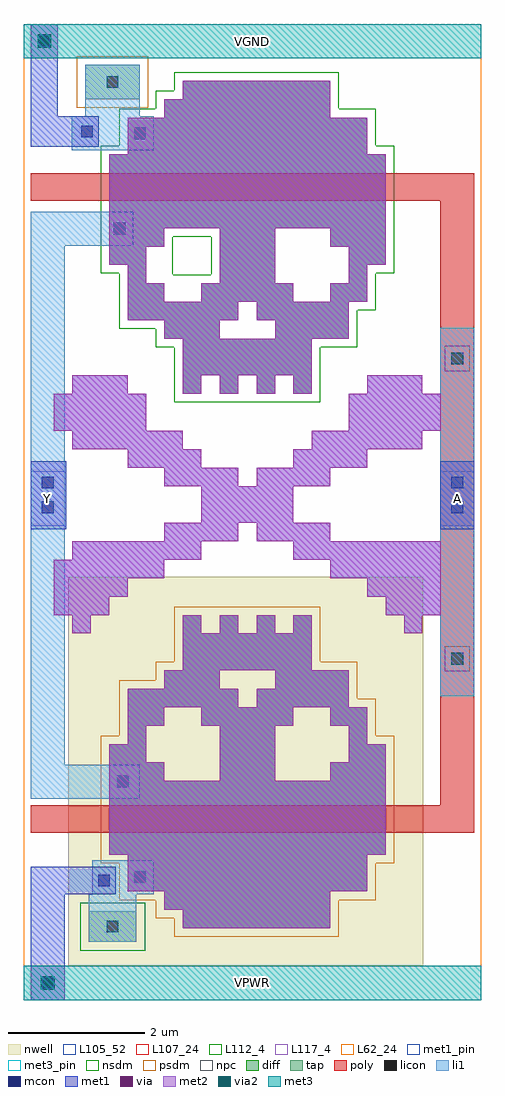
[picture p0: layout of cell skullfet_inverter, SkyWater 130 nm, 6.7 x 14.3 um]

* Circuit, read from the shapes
.subckt skullfet_inverter A VGND VPWR Y
XM1 VGND A Y VGND sky130_fd_pr__nfet_01v8 w=4.05 l=0.4
XM2 Y A VPWR VPWR sky130_fd_pr__pfet_01v8 w=4.05 l=0.4
.ends

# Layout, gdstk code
import gdstk
lib = gdstk.Library(unit=1e-6, precision=1e-09)
def R(c, l, rs):  # rectangles x0, y0, x1, y1
    for r in rs: c.add(gdstk.rectangle(r[:2], r[2:], *l))
def A(c, l, x, y, w, h, nx, ny, dx, dy):  # array of equal rectangles
    R(c, l, [(x+i*dx, y+j*dy, x+i*dx+w, y+j*dy+h) for i in range(nx) for j in range(ny)])
L62_24 = (62, 24)
nwell = (64, 20)
diff = (65, 20)
tap = (65, 44)
poly = (66, 20)
licon = (66, 44)
li1 = (67, 20)
mcon = (67, 44)
met1_pin = (68, 16)
met1 = (68, 20)
via = (68, 44)
met2 = (69, 20)
via2 = (69, 44)
met3_pin = (70, 16)
met3 = (70, 20)
nsdm = (93, 44)
psdm = (94, 20)
npc = (95, 20)
L105_52 = (105, 52)
L107_24 = (107, 24)
L112_4 = (112, 4)
L117_4 = (117, 4)

skullfet_inverter = lib.new_cell('skullfet_inverter')
R(skullfet_inverter, L62_24, [(0,0,6.7,14.3)])
R(skullfet_inverter, nwell, [(0.65,0.5,5.85,6.2)])
A(skullfet_inverter, diff, 2.33, 5.37, 0.27, 0.27, 4, 2, 0.54, 3.51)
R(skullfet_inverter, diff, [(2.33,1.05,4.49,1.32), (2.06,1.32,4.49,1.59), (1.52,1.59,5.03,2.13), (1.25,2.13,5.3,3.21), (1.25,3.21,2.06,3.48), (2.87,3.21,3.68,4.02), (4.49,3.21,5.3,3.48), (1.25,3.48,1.79,3.75), (4.76,3.48,5.3,3.75), (1.52,3.75,1.79,4.02), (4.76,3.75,5.03,4.02), (1.52,4.02,2.06,4.29), (2.6,4.02,3.95,4.29), (4.49,4.02,5.03,4.29), (1.52,4.29,3.14,4.56), (3.41,4.29,4.76,4.56), (2.06,4.56,2.87,4.83), (3.68,4.56,4.76,4.83), (2.33,4.83,4.22,5.37), (2.33,9.15,4.22,9.69), (2.06,9.69,2.87,9.96), (3.68,9.69,4.76,9.96), (1.52,9.96,3.14,10.23), (3.41,9.96,4.76,10.23), (1.52,10.23,2.06,10.5), (2.6,10.23,3.95,10.5), (4.49,10.23,5.03,10.5), (1.52,10.5,1.79,10.77), (2.87,10.5,3.68,11.31), (4.76,10.5,5.03,10.77), (1.25,10.77,1.79,11.04), (4.76,10.77,5.3,11.04), (1.25,11.04,2.06,11.31), (4.49,11.04,5.3,11.31), (1.25,11.31,5.3,12.39), (1.52,12.39,5.03,12.93), (2.06,12.93,4.49,13.2), (2.33,13.2,4.49,13.47)])
R(skullfet_inverter, tap, [(0.95,0.85,1.65,1.3), (0.9,13.2,1.7,13.7)])
R(skullfet_inverter, poly, [(0.1,2.45,6.6,2.85), (6.1,2.85,6.6,11.71), (0.1,11.71,6.6,12.11)])
R(skullfet_inverter, licon, [(1.215,0.99,1.385,1.16), (1.615,1.715,1.785,1.885), (1.365,3.115,1.535,3.285), (6.265,4.915,6.435,5.085), (6.265,9.315,6.435,9.485), (1.315,11.215,1.485,11.385), (1.615,12.615,1.785,12.785), (1.215,13.365,1.385,13.535)])
R(skullfet_inverter, li1, [(0.95,0.85,1.65,1.55), (1,1.55,1.9,2.05), (0.1,2.95,1.7,3.45), (0.1,3.45,0.6,11.05), (6.1,4.45,6.6,9.85), (0.1,11.05,1.6,11.55), (0.7,12.45,1.9,12.95), (0.9,12.95,1.7,13.7)])
R(skullfet_inverter, mcon, [(1.09,1.665,1.26,1.835), (0.265,7.135,0.435,7.305), (6.265,7.135,6.435,7.305), (0.265,7.495,0.435,7.665), (6.265,7.495,6.435,7.665), (0.84,12.64,1.01,12.81)])
R(skullfet_inverter, met1_pin, [(0.1,6.95,0.6,7.75), (6.1,6.95,6.6,7.75)])
A(skullfet_inverter, met1, 2.33, 5.37, 0.27, 0.27, 4, 2, 0.54, 3.51)
R(skullfet_inverter, met1, [(0.1,0,0.6,1.55), (2.33,1.05,4.49,1.32), (2.06,1.32,4.49,1.59), (0.1,1.55,1.35,1.95), (1.52,1.59,5.03,2.13), (1.25,2.13,5.3,3.21), (1.25,3.21,2.06,3.48), (2.87,3.21,3.68,4.02), (4.49,3.21,5.3,3.48), (1.25,3.48,1.79,3.75), (4.76,3.48,5.3,3.75), (1.52,3.75,1.79,4.02), (4.76,3.75,5.03,4.02), (1.52,4.02,2.06,4.29), (2.6,4.02,3.95,4.29), (4.49,4.02,5.03,4.29), (1.52,4.29,3.14,4.56), (3.41,4.29,4.76,4.56), (2.06,4.56,2.87,4.83), (3.68,4.56,4.76,4.83), (2.33,4.83,4.22,5.37), (0.71,5.37,0.98,5.64), (5.57,5.37,5.84,5.64), (0.44,5.64,1.25,5.91), (5.3,5.64,6.11,5.91), (0.44,5.91,1.52,6.18), (5.03,5.91,6.11,6.18), (0.44,6.18,2.06,6.45), (4.49,6.18,6.11,6.45), (0.71,6.45,2.6,6.72), (3.95,6.45,6.11,6.72), (2.06,6.72,3.14,6.99), (3.41,6.72,4.49,6.99), (0.1,6.9,0.62,7.89), (6.1,6.9,6.6,7.89), (2.6,6.99,3.95,7.53), (2.06,7.53,3.14,7.8), (3.41,7.53,4.49,7.8), (1.52,7.8,2.6,8.07), (3.95,7.8,5.03,8.07), (0.71,8.07,2.33,8.34), (4.22,8.07,5.84,8.34), (0.44,8.34,1.79,8.88), (4.76,8.34,6.11,8.88), (0.71,8.88,1.52,9.15), (5.03,8.88,5.84,9.15), (2.33,9.15,4.22,9.69), (2.06,9.69,2.87,9.96), (3.68,9.69,4.76,9.96), (1.52,9.96,3.14,10.23), (3.41,9.96,4.76,10.23), (1.52,10.23,2.06,10.5), (2.6,10.23,3.95,10.5), (4.49,10.23,5.03,10.5), (1.52,10.5,1.79,10.77), (2.87,10.5,3.68,11.31), (4.76,10.5,5.03,10.77), (1.25,10.77,1.79,11.04), (4.76,10.77,5.3,11.04), (1.25,11.04,2.06,11.31), (4.49,11.04,5.3,11.31), (1.25,11.31,5.3,12.39), (1.52,12.39,5.03,12.93), (0.1,12.5,1.1,12.95), (2.06,12.93,4.49,13.2), (0.1,12.95,0.5,14.3), (2.33,13.2,4.49,13.47)])
R(skullfet_inverter, via, [(0.275,0.175,0.425,0.325), (0.225,13.975,0.375,14.125)])
A(skullfet_inverter, met2, 2.33, 5.37, 0.27, 0.27, 4, 2, 0.54, 3.51)
R(skullfet_inverter, met2, [(0.1,0,0.6,0.5), (2.33,1.05,4.49,1.32), (2.06,1.32,4.49,1.59), (1.52,1.59,5.03,2.13), (1.25,2.13,5.3,3.21), (1.25,3.21,2.06,3.48), (2.87,3.21,3.68,4.02), (4.49,3.21,5.3,3.48), (1.25,3.48,1.79,3.75), (4.76,3.48,5.3,3.75), (1.52,3.75,1.79,4.02), (4.76,3.75,5.03,4.02), (1.52,4.02,2.06,4.29), (2.6,4.02,3.95,4.29), (4.49,4.02,5.03,4.29), (1.52,4.29,3.14,4.56), (3.41,4.29,4.76,4.56), (2.06,4.56,2.87,4.83), (3.68,4.56,4.76,4.83), (2.33,4.83,4.22,5.37), (0.71,5.37,0.98,5.64), (5.57,5.37,5.84,5.64), (0.44,5.64,1.25,5.91), (5.3,5.64,6.11,5.91), (0.44,5.91,1.52,6.18), (5.03,5.91,6.11,6.18), (0.44,6.18,2.06,6.45), (4.49,6.18,6.11,6.45), (0.71,6.45,2.6,6.72), (3.95,6.45,6.11,6.72), (2.06,6.72,3.14,6.99), (3.41,6.72,4.49,6.99), (2.6,6.99,3.95,7.53), (2.06,7.53,3.14,7.8), (3.41,7.53,4.49,7.8), (1.52,7.8,2.6,8.07), (3.95,7.8,5.03,8.07), (0.71,8.07,2.33,8.34), (4.22,8.07,5.84,8.34), (0.44,8.34,1.79,8.88), (4.76,8.34,6.11,8.88), (0.71,8.88,1.52,9.15), (5.03,8.88,5.84,9.15), (2.33,9.15,4.22,9.69), (2.06,9.69,2.87,9.96), (3.68,9.69,4.76,9.96), (1.52,9.96,3.14,10.23), (3.41,9.96,4.76,10.23), (1.52,10.23,2.06,10.5), (2.6,10.23,3.95,10.5), (4.49,10.23,5.03,10.5), (1.52,10.5,1.79,10.77), (2.87,10.5,3.68,11.31), (4.76,10.5,5.03,10.77), (1.25,10.77,1.79,11.04), (4.76,10.77,5.3,11.04), (1.25,11.04,2.06,11.31), (4.49,11.04,5.3,11.31), (1.25,11.31,5.3,12.39), (1.52,12.39,5.03,12.93), (2.06,12.93,4.49,13.2), (2.33,13.2,4.49,13.47), (0.1,13.8,0.5,14.3)])
R(skullfet_inverter, via2, [(0.25,0.15,0.45,0.35), (0.2,13.95,0.4,14.15)])
R(skullfet_inverter, met3_pin, [(0,0,6.7,0.5), (0,13.8,6.7,14.3)])
R(skullfet_inverter, met3, [(0,0,6.7,0.5), (0,13.8,6.7,14.3)])
R(skullfet_inverter, nsdm, [(0.825,0.725,1.775,1.425), (2.205,8.755,4.345,9.565), (1.935,9.565,4.885,9.835), (1.395,9.835,4.885,10.105), (1.395,10.105,5.155,10.625), (1.395,10.625,2.185,10.645), (2.745,10.625,5.155,10.645), (1.125,10.645,2.185,11.185), (2.745,10.645,5.425,11.185), (1.125,11.185,5.425,12.515), (1.395,12.515,5.155,13.055), (1.935,13.055,4.615,13.325), (2.205,13.325,4.615,13.595)])
R(skullfet_inverter, psdm, [(2.205,0.925,4.615,1.195), (1.935,1.195,4.615,1.465), (1.395,1.465,5.155,2.005), (1.125,2.005,5.425,3.875), (1.395,3.875,5.155,4.415), (1.395,4.415,4.885,4.685), (1.935,4.685,4.885,4.955), (2.205,4.955,4.345,5.765), (0.775,13.075,1.825,13.825)])
R(skullfet_inverter, npc, [(6.165,4.815,6.535,5.185), (6.165,9.215,6.535,9.585)])
R(skullfet_inverter, L105_52, [(0,0,6.7,14.3)])
R(skullfet_inverter, L107_24, [(0,0,6.7,14.3)])
R(skullfet_inverter, L112_4, [(0,0,6.7,14.3)])
R(skullfet_inverter, L117_4, [(0,0,6.7,14.3)])
skullfet_inverter.add(gdstk.Label('VGND', (3.35,14.05), layer=70, texttype=5))
skullfet_inverter.add(gdstk.Label('VPWR', (3.35,0.25), layer=70, texttype=5))
skullfet_inverter.add(gdstk.Label('Y', (0.35,7.35), layer=68, texttype=5))
skullfet_inverter.add(gdstk.Label('A', (6.35,7.35), layer=68, texttype=5))

lib.write_gds('skullfet_inverter.gds')
